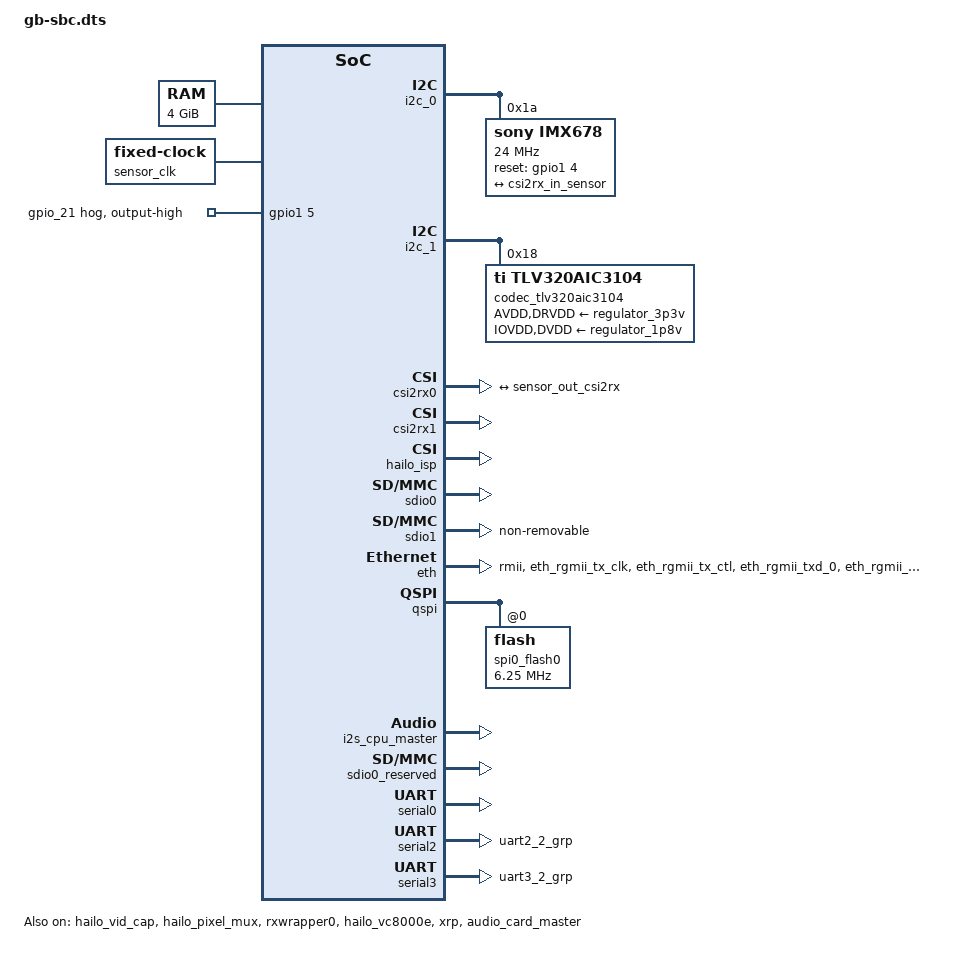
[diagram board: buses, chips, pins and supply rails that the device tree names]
// SPDX-License-Identifier:     GPL-2.0
/*
 * Copyright (c) 2019-2023 Hailo Technologies Ltd. All rights reserved.
 */

/dts-v1/;
#include "../hailo/hailo15-base.dtsi"
#include "../hailo/hailo15-camera-sensor.h"
#include <dt-bindings/gpio/gpio.h>

/ {
    memory {
        device_type = "memory";
        reg = <0x00000000 0x80000000 0x00000001 0x00000000>;
    };
};

&i2c_0 {
    status = "ok";
    imx678: camera-sensor@1a {
        status = "ok";
        compatible = "sony,imx678";
        reg = <0x1a>;
        clocks = <&sensor_clk>;
        clock-names = "inclk";
        clock-frequency = <24000000>;
        csi-id = <0>;
        reset-gpios = <&gpio1 4 GPIO_ACTIVE_HIGH>;
        port {
            sensor_out_csi2rx: endpoint {
                data-lanes = <1 2 3 4>;
                remote-endpoint = <&csi2rx_in_sensor>;
		        link-frequencies = /bits/ 64 <891000000>;
            };
        };
     };
};

&i2c_1 {
    status = "ok";
    // ina231_1v8: 1v8@40 {
    //     compatible = "ti,ina231_precise";
    //     reg = <0x40>;
    //     shunt-resistor = <100000>;
    //     max-current = <260>;
    // };
    // ina231_DDR_VDDQX: DDR_VDDQX@42 {
    //     compatible = "ti,ina231_precise";
    //     reg = <0x42>;
    //     shunt-resistor = <100000>;
    //     max-current = <170>;
    // };
    // ina231_0v8: 0v8@43 {
    //     compatible = "ti,ina231_precise";
    //     reg = <0x43>;
    //     shunt-resistor = <1000>;
    //     max-current = <11755>;
    // };

    // tmp175_NEAR_H15_SOC: NEAR_H15_SOC@2c {
    //     compatible = "ti,tmp175";
    //     reg = <0x2c>;
    // };

    codec_tlv320aic3104: tlv320aic3104@18 {
        #sound-dai-cells = <0>;
        compatible = "ti,tlv320aic3104";
        reg = <0x18>;
        ai3x-source-clk = "bclk";
        ai3x-micbias-vg = <2>;
		/* Regulators */
		AVDD-supply = <&regulator_3p3v>;
		IOVDD-supply = <&regulator_1p8v>;
		DRVDD-supply = <&regulator_3p3v>;
		DVDD-supply = <&regulator_1p8v>;
    };
};

&csi2rx0 {
    status = "ok";
    ports {
        port@0 {
            csi2rx_in_sensor: endpoint {
                remote-endpoint = <&sensor_out_csi2rx>;
            };
        };
    };
};

&csi2rx1 {
    status = "ok";
};

&hailo_vid_cap {
    status = "ok";
};

&hailo_isp {
    status = "ok";
};

&hailo_pixel_mux {
    status = "ok";
};

&rxwrapper0 {
    status = "ok";
};

&hailo_vc8000e {
    status = "ok";
};

&vc8000e_reserved {
    status = "ok";
};

&xrp {
    status = "ok";
};

&xrp_reserved {
    status = "ok";
};

&sdio0 {
    status = "ok";
    broken-cd;
    phy-config {
		card-is-emmc = <0x0>;
		cmd-pad-values = <0x1 0x3 0x1 0x1>; // txslew_ctrl_n, txslew_ctrl_p, weakpull_enable, rxsel
        	dat-pad-values = <0x1 0x3 0x1 0x1>; // txslew_ctrl_n, txslew_ctrl_p, weakpull_enable, rxsel
        	rst-pad-values = <0x1 0x3 0x1 0x1>; // txslew_ctrl_n, txslew_ctrl_p, weakpull_enable, rxsel
        	clk-pad-values = <0x1 0x3 0x0 0x1>; // txslew_ctrl_n, txslew_ctrl_p, weakpull_enable, rxsel
        	sdclkdl-cnfg = <0x0 0x32>; //extdly_en, cckdl_dc
        	drive-strength = <0xC 0xC>; //pad_sp, pad_sn	
    };
};
&sdio1 {
    status = "ok";
    non-removable;
    phy-config {
		card-is-emmc = <0x1>;
        	cmd-pad-values = <0x2 0x2 0x1 0x1>; // txslew_ctrl_n, txslew_ctrl_p, weakpull_enable, rxsel
        	dat-pad-values = <0x2 0x2 0x1 0x1>; // txslew_ctrl_n, txslew_ctrl_p, weakpull_enable, rxsel
        	rst-pad-values = <0x2 0x2 0x1 0x1>; // txslew_ctrl_n, txslew_ctrl_p, weakpull_enable, rxsel
        	clk-pad-values = <0x2 0x2 0x0 0x0>; // txslew_ctrl_n, txslew_ctrl_p, weakpull_enable, rxsel
        	sdclkdl-cnfg = <0x0 0x32>; //extdly_en, cckdl_dc
        	drive-strength = <0xC 0xC>; //pad_sp, pad_sn
        };
};

&eth {
    status = "ok";
    pinctrl-names = "default";
    pinctrl-0 = <&pinctrl_eth>;
    phy-mode = "rmii";
};

&qspi {
    status = "ok";

    spi0_flash0: flash@0 {
        /* values for MT25QU01G */
        spi-max-frequency = <6250000>; /* 90Mhz in DTR, 166Mhz in STR */
        cdns,read-delay = <7>;
        cdns,tshsl-ns = <30>;
        cdns,tsd2d-ns = <30>;
        cdns,tchsh-ns = <5>;
        cdns,tslch-ns = <3>;
    };
};

&i2s_cpu_master {
    status = "okay";
    rx-sample-pace-pattern-repetitions = <2>;
    rx-sample-pace = <64 64 64>;
    rx-sample-cmp-to = "prev-val";
    tx-sample-offset = <81>;
    tx-sample-pace = <63>;
};

&audio_card_master {
    status = "ok";
    simple-audio-card,bitclock-master = <&cpu_dai_master>;
    simple-audio-card,frame-master = <&cpu_dai_master>;

    cpu_dai_master: simple-audio-card,cpu {
        sound-dai = <&i2s_cpu_master>;
        system-clock-frequency = <1562500>;
        system-clock-direction-out;
    };
    codec_dai_master: simple-audio-card,codec {
        sound-dai = <&codec_tlv320aic3104>;
        system-clock-frequency = <1562500>;
    };
};

&audio_card_slave_tx {
    simple-audio-card,bitclock-master = <&codec_dai_tx>;
    simple-audio-card,frame-master = <&codec_dai_tx>;

    cpu_dai_tx: simple-audio-card,cpu {
        sound-dai = <&i2s_cpu_slave_tx>;
        system-clock-frequency = <12288000>;
    };
    codec_dai_tx: simple-audio-card,codec {
        sound-dai = <&codec_tlv320aic3104>;
        system-clock-frequency = <12288000>;
    };
};

&audio_card_slave_rx {
    simple-audio-card,bitclock-master = <&codec_dai_rx>;
    simple-audio-card,frame-master = <&codec_dai_rx>;

    cpu_dai_rx: simple-audio-card,cpu {
        sound-dai = <&i2s_cpu_slave_rx>;
        system-clock-frequency = <12288000>;
    };
    codec_dai_rx: simple-audio-card,codec {
        sound-dai = <&codec_tlv320aic3104>;
        system-clock-frequency = <12288000>;
    };
};

/ {
    sensor_clk: sensor_clk {
        compatible = "fixed-clock";
        #clock-cells = <0>;
        clock-frequency = <24000000>;
    };
};

&sdio0_reserved {
    status = "ok";
};

&serial0 { 
 status = "ok"; 
};

&serial2 {
    status = "ok";
    pinctrl-names = "default";
    pinctrl-0 = <&pinctrl_uart2>;
};

&serial3 {
    status = "ok";
    pinctrl-names = "default";
    pinctrl-0 = <&pinctrl_uart3>;
};

&pinctrl {

    pinctrl_eth: eth {
        pins = "eth_rgmii_tx_clk",
               "eth_rgmii_tx_ctl",
               "eth_rgmii_txd_0",
               "eth_rgmii_txd_1",
               "eth_rgmii_txd_2",
               "eth_rgmii_txd_3";
        drive-strength = <2>;
    };

    pinctrl_uart2: uart2 {
        function = "uart2";
        groups = "uart2_2_grp";	
    };

    pinctrl_uart3: uart3 { 
        function = "uart3";
        groups = "uart3_2_grp";
    };

};

&gpio0 {
    gpio-ranges = <&pinctrl 0 0 16>;

    gpio-line-names =
        "NC",
        "NC",
        "NC",
        "NC",
        "SEN_MCU_RX",
        "MCU_ZB_RX",
        "SEN_MCU_TX",
        "MCU_ZB_TX",
        "NC",
        "SD_SEL",
        "MCU_TCK",
        "MCU_TDIO_RST_N",
        "NC",
        "ZIGBEE_RST_N",
        "NC",
        "NC";
};

&gpio1 {
    gpio-ranges = <&pinctrl 0 16 16>;

    gpio-line-names =
        "IP_ID0",
        "IP_ID1",
        "AUD_RST_N",
        "NC",
        "SEN_RST_N",
        "ETH_RST_N",
        "NC",
        "NR_ON_OFF",
        "GYRO_INT_N",
        "NC",
        "NC",
        "NC",
        "NC",
        "TCK_RTSn_SoC",
        "TDIO_DTRn_SoC",
        "NC";

    eth_rst_n {

        gpio-hog;

        gpios = <5 GPIO_ACTIVE_HIGH>;

        output-high;

        line-name = "gpio_21";

    };
};

